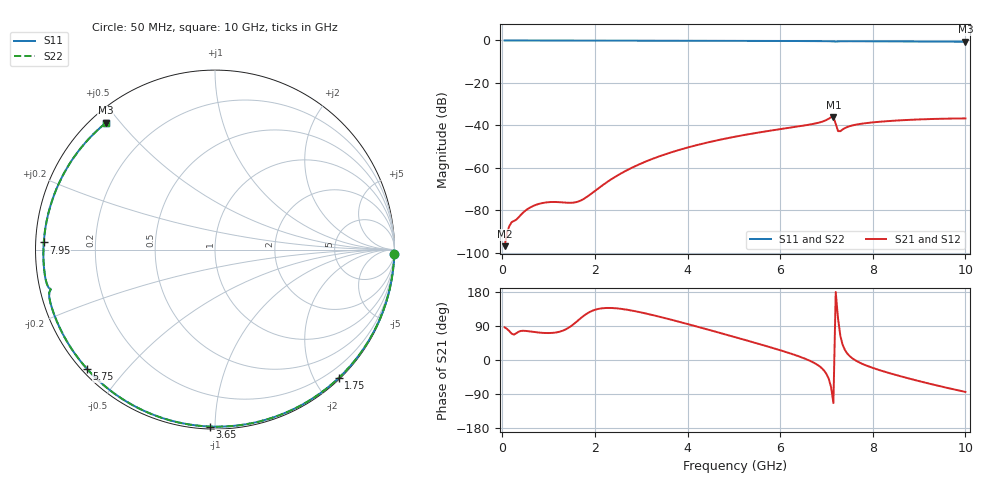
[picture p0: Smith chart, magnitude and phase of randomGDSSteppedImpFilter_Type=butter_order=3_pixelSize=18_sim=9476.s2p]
! freq	dB(S11)	phase(S11)	dB(S12)	phase(S12)
!  dB(S21)	phase(S21)	dB(S22)	phase(S22)
!S-par simulation data
#  GHz  S  DB  R 50
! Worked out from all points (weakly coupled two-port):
!   200 points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, 50 MHz to 10 GHz, reference 50 ohm
!   highest |S21| = -36.07 dB at 7.15 GHz (marker M1); lowest = -96.8 dB at 50 MHz (marker M2)
!   lowest |S11| = -0.6 dB at 10 GHz (marker M3), VSWR 28.27, Z = 2.14 + j22.9 ohm
!   |S11| at or under -10 dB: nowhere
!   |S22| runs from -0.6 to 0.0 dB; largest |S21 - S12| = 0
!   S11 on the Smith chart (normalised r, x): 50 MHz: 1, -88; 1.75 GHz: 0.02, -2.35; 3.65 GHz: 0.01, -0.97; 5.75 GHz: 0.01, -0.39; 7.95 GHz: 0.02, +0.02; 10 GHz: 0.04, +0.46
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0.05  -0.00 -1.3  -96.84 86.4  -96.84 86.4  -0.00 -1.3
0.5  -0.02 -13.4  -80.09 76.8  -80.09 76.8  -0.02 -13.4
0.7  -0.02 -18.7  -77.60 73.7  -77.60 73.7  -0.02 -18.7
0.9  -0.03 -24.0  -76.39 71.4  -76.39 71.4  -0.03 -24.0
1.5  -0.05 -39.6  -76.41 90.8  -76.41 90.8  -0.05 -39.7
1.75  -0.06 -46.0  -74.71 115.8  -74.71 115.8  -0.06 -46.0
2.55  -0.08 -65.9  -62.76 135.2  -62.76 135.2  -0.08 -65.9
2.95  -0.10 -75.5  -58.38 126.7  -58.38 126.7  -0.10 -75.5
3.4  -0.11 -86.0  -54.48 114.0  -54.48 114.0  -0.11 -86.0
3.65  -0.12 -91.7  -52.66 106.3  -52.66 106.3  -0.12 -91.7
4.35  -0.15 -107.2  -48.45 83.3  -48.45 83.3  -0.15 -107.3
5.05  -0.18 -122.3  -45.20 59.5  -45.20 59.5  -0.18 -122.3
5.75  -0.22 -136.9  -42.59 35.0  -42.59 35.0  -0.22 -136.9
6.7  -0.29 -156.6  -39.35 -5.4  -39.35 -5.4  -0.29 -156.6
7.15  -0.50 -166.3  -36.07 -113.6  -36.07 -113.6  -0.51 -166.3
7.25  -0.43 -167.2  -42.69 109.4  -42.69 109.4  -0.44 -167.2
7.3  -0.39 -168.3  -42.70 63.6  -42.70 63.6  -0.40 -168.3
7.55  -0.37 -173.8  -40.05 5.3  -40.05 5.3  -0.37 -173.8
7.95  -0.40 177.6  -38.67 -18.7  -38.67 -18.7  -0.40 177.6
8.35  -0.44 168.9  -37.93 -34.3  -37.93 -34.3  -0.44 168.9
9.15  -0.52 151.0  -37.06 -60.3  -37.06 -60.3  -0.52 151.0
10  -0.61 130.7  -36.69 -84.3  -36.69 -84.3  -0.61 130.7
